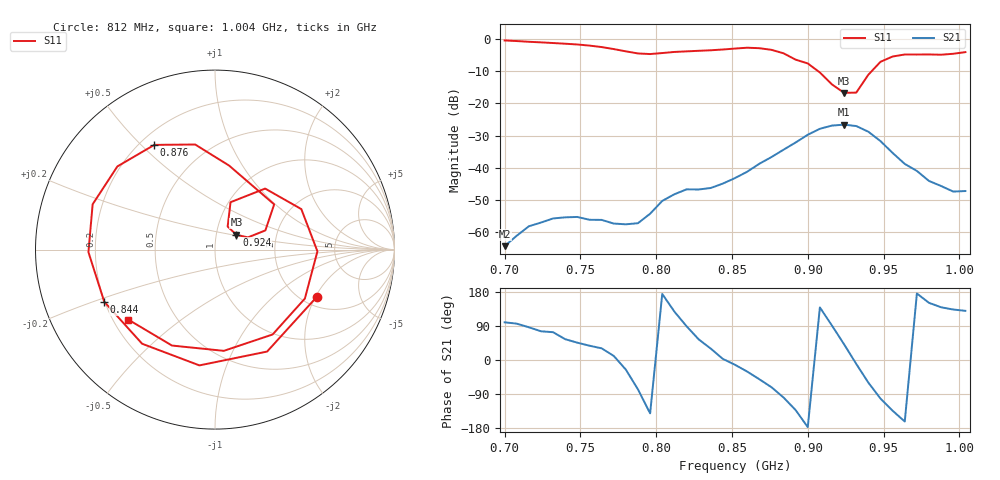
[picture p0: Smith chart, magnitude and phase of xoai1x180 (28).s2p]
# Hz S RI R 50
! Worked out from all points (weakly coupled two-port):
!   39 points, 700 MHz to 1.004 GHz, reference 50 ohm
!   highest |S21| = -26.62 dB at 924 MHz (marker M1); lowest = -64.3 dB at 700 MHz (marker M2)
!   lowest |S11| = -16.8 dB at 924 MHz (marker M3), VSWR 1.34, Z = 62.6 + j10.5 ohm
!   |S11| at or under -10 dB: 906.7 MHz to 942.3 MHz (35.52 MHz wide, 3.84 % of centre)
!   S12 and S22 are empty: the file has one direction only
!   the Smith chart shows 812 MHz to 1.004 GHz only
!   S11 on the Smith chart (normalised r, x): 812 MHz: 2.36, -2.05; 844 MHz: 0.20, -0.22; 876 MHz: 0.26, +0.55; 924 MHz: 1.25, +0.21; 1.004 GHz: 0.26, -0.33
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7e8  0.7615 0.5542  -0.0001 0.000603  0 0  0 0
7.24e8  0.8447 -0.2462  0.000348 0.00137  0 0  0 0
7.4e8  0.4587 -0.7016  0.000983 0.0014  0 0  0 0
7.56e8  -0.188 -0.7614  0.00124 0.000958  0 0  0 0
7.72e8  -0.6613 -0.2055  0.00134 0.000256  0 0  0 0
7.8e8  -0.6012 0.2157  0.0012 -0.000572  0 0  0 0
7.88e8  -0.2616 0.5315  0.000296 -0.00135  0 0  0 0
7.96e8  0.2232 0.5351  -0.00151 -0.00123  0 0  0 0
8.04e8  0.5683 0.1949  -0.00306 0.000306  0 0  0 0
8.12e8  0.5662 -0.2644  -0.00239 0.00307  0 0  0 0
8.28e8  -0.0868 -0.6451  0.00267 0.00377  0 0  0 0
8.44e8  -0.6171 -0.2905  0.0057 0.000286  0 0  0 0
8.52e8  -0.7052 -0.014  0.00677 -0.00152  0 0  0 0
8.76e8  -0.3382 0.5834  0.00462 -0.0139  0 0  0 0
9e8  0.3297 0.252  -0.0325 -0.00165  0 0  0 0
9.08e8  0.2807 0.107  -0.0303 0.0266  0 0  0 0
9.24e8  0.1197 0.0823  0.0351 0.0307  0 0  0 0
9.4e8  0.0865 0.264  0.0182 -0.0313  0 0  0 0
9.56e8  0.481 0.2256  -0.0118 -0.0123  0 0  0 0
9.64e8  0.5707 -0.00971  -0.011 -0.00349  0 0  0 0
9.8e8  0.3211 -0.4728  -0.00546 0.00305  0 0  0 0
1.004e9  -0.4838 -0.3896  -0.0028 0.00336  0 0  0 0
